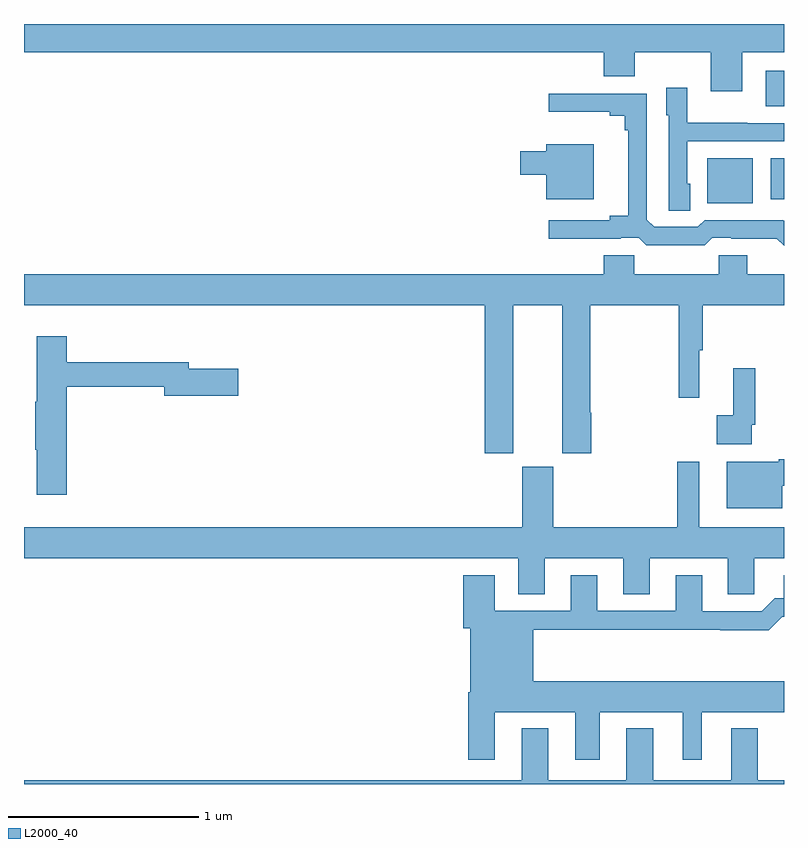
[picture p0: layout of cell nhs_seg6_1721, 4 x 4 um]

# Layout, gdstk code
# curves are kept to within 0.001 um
import gdstk
lib = gdstk.Library(unit=1e-6, precision=1e-09)
def R(c, l, rs):  # rectangles x0, y0, x1, y1
    for r in rs: c.add(gdstk.rectangle(r[:2], r[2:], *l))
def P(c, l, *ps):  # polygons
    for p in ps: c.add(gdstk.Polygon(p, *l))
L2000_40 = (2000, 40)

nhs_seg6_1721 = lib.new_cell('nhs_seg6_1721')
R(nhs_seg6_1721, L2000_40, [(218.597,930.557,218.836,930.793), (218.93,930.578,219,930.793), (218.903,931.068,219,931.255)])
P(nhs_seg6_1721, L2000_40, [(218.779,931.352),(219,931.352),(219,931.5),(215,931.5),(215,931.352),(218.051,931.352),(218.051,931.224),(218.215,931.224),(218.215,931.352),(218.615,931.352),(218.615,931.146),(218.779,931.146)],
  [(218.506,930.66),(218.49,930.66),(218.49,930.882),(219,930.882),(219,930.978),(218.807,930.978),(218.807,930.979),(218.49,930.979),(218.49,931.165),(218.381,931.165),(218.381,931.02),(218.394,931.02),(218.394,930.517),(218.506,930.517)],
  [(219,930.465),(218.997,930.468),(218.583,930.468),(218.547,930.432),(218.316,930.432),(218.277,930.471),(218.277,931.134),(217.761,931.134),(217.761,931.037),(218.084,931.037),(218.084,931.018),(218.161,931.018),(218.161,930.941),(218.18,930.941),(218.18,930.491),(218.084,930.491),(218.084,930.468),(217.761,930.468),(217.761,930.371),(218.141,930.371),(218.141,930.375),(218.235,930.375),(218.275,930.336),(218.583,930.336),(218.622,930.375),(218.722,930.375),(218.722,930.371),(218.963,930.371),(219,930.334)],
  [(217.999,930.868),(217.748,930.868),(217.748,930.829),(217.611,930.829),(217.611,930.707),(217.748,930.707),(217.748,930.578),(217.999,930.578)],
  [(217.576,930.02),(217.832,930.02),(217.832,929.241),(217.985,929.241),(217.985,929.453),(217.98,929.453),(217.98,930.02),(218.445,930.02),(218.445,929.532),(218.555,929.532),(218.555,929.784),(218.573,929.784),(218.573,930.02),(219,930.02),(219,930.184),(218.806,930.184),(218.806,930.282),(218.656,930.282),(218.656,930.184),(218.211,930.184),(218.211,930.282),(218.051,930.282),(218.051,930.184),(215,930.184),(215,930.02),(217.424,930.02),(217.424,929.241),(217.576,929.241)],
  [(215.225,929.59),(215.738,929.59),(215.738,929.543),(216.127,929.543),(216.127,929.685),(215.866,929.685),(215.866,929.719),(215.225,929.719),(215.225,929.857),(215.066,929.857),(215.066,929.513),(215.059,929.513),(215.059,929.26),(215.066,929.26),(215.066,929.022),(215.225,929.022)],
  [(218.829,929.392),(218.849,929.392),(218.849,929.689),(218.732,929.689),(218.732,929.441),(218.646,929.441),(218.646,929.288),(218.829,929.288)],
  [(218.992,929.069),(219,929.069),(219,929.21),(218.972,929.21),(218.972,929.197),(218.699,929.197),(218.699,928.952),(218.992,928.952)],
  [(217.741,928.688),(218.153,928.688),(218.153,928.498),(218.293,928.498),(218.293,928.688),(218.705,928.688),(218.705,928.498),(218.844,928.498),(218.844,928.688),(219,928.688),(219,928.852),(218.554,928.852),(218.554,929.197),(218.437,929.197),(218.437,928.852),(217.786,928.852),(217.786,929.169),(217.622,929.169),(217.622,928.852),(215,928.852),(215,928.688),(217.601,928.688),(217.601,928.498),(217.741,928.498)],
  [(217.477,927.878),(217.901,927.878),(217.901,927.627),(218.029,927.627),(218.029,927.878),(218.468,927.878),(218.468,927.627),(218.566,927.627),(218.566,927.878),(219,927.878),(219,928.042),(217.681,928.042),(217.681,928.312),(218.665,928.312),(218.665,928.31),(218.921,928.31),(218.99,928.379),(219,928.379),(219,928.6),(218.999,928.477),(218.95,928.477),(218.883,928.41),(218.569,928.41),(218.569,928.6),(218.429,928.6),(218.429,928.413),(218.017,928.413),(218.017,928.6),(217.877,928.6),(217.877,928.413),(217.477,928.413),(217.477,928.6),(217.313,928.6),(217.313,928.32),(217.349,928.32),(217.349,927.982),(217.337,927.982),(217.337,927.627),(217.477,927.627)],
  [(219,927.52),(218.863,927.52),(218.863,927.793),(218.723,927.793),(218.723,927.52),(218.311,927.52),(218.311,927.793),(218.171,927.793),(218.171,927.52),(217.759,927.52),(217.759,927.793),(217.619,927.793),(217.619,927.52),(215,927.52),(215,927.5),(219,927.5)])

lib.write_gds('nhs_seg6_1721.gds')
